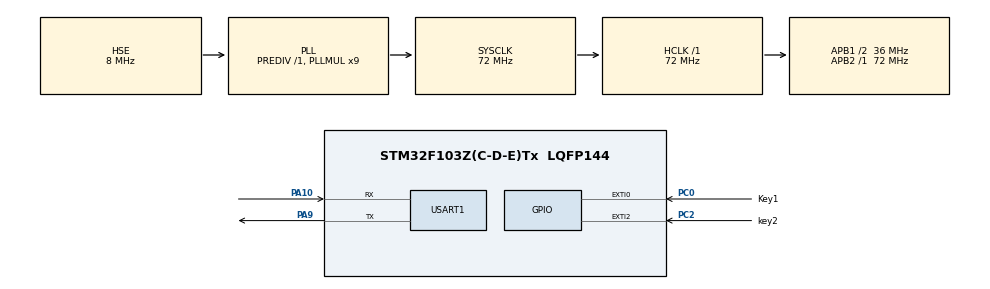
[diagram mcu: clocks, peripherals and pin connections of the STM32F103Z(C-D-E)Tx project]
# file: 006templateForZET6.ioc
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FREERTOS.Queues01=myQueue01,2,uint8_t,0,Dynamic,NULL,NULL;myBigQueue,2,char *,0,Dynamic,NULL,NULL
FREERTOS.Tasks01=defaultTask,0,128,StartDefaultTask,Default,NULL,Dynamic,NULL,NULL
FREERTOS.configGENERATE_RUN_TIME_STATS=0
FREERTOS.configTOTAL_HEAP_SIZE=20480
FREERTOS.configUSE_STATS_FORMATTING_FUNCTIONS=1
FREERTOS.configUSE_TRACE_FACILITY=1
Mcu.Family=STM32F1
Mcu.Name=STM32F103Z(C-D-E)Tx
Mcu.Package=LQFP144
NVIC.EXTI0_IRQn=true\:5\:0\:false\:false\:true\:true\:true\:true\:true
NVIC.EXTI2_IRQn=true\:5\:0\:false\:false\:true\:true\:true\:true\:true
NVIC.PriorityGroup=NVIC_PRIORITYGROUP_4
NVIC.TIM1_UP_IRQn=true\:15\:0\:false\:false\:true\:false\:false\:true\:true
NVIC.TimeBase=TIM1_UP_IRQn
NVIC.TimeBaseIP=TIM1
OSC_IN.Mode=HSE-External-Oscillator
OSC_IN.Signal=RCC_OSC_IN
OSC_OUT.Mode=HSE-External-Oscillator
OSC_OUT.Signal=RCC_OSC_OUT
PA10.Mode=Asynchronous
PA10.Signal=USART1_RX
PA13.Mode=Serial_Wire
PA13.Signal=SYS_JTMS-SWDIO
PA14.Mode=Serial_Wire
PA14.Signal=SYS_JTCK-SWCLK
PA9.Mode=Asynchronous
PA9.Signal=USART1_TX
PC0.GPIO_Label=Key1
PC0.GPIO_PuPd=GPIO_PULLUP
PC0.Signal=GPXTI0
PC14-OSC32_IN.Mode=LSE-External-Oscillator
PC14-OSC32_IN.Signal=RCC_OSC32_IN
PC15-OSC32_OUT.Mode=LSE-External-Oscillator
PC15-OSC32_OUT.Signal=RCC_OSC32_OUT
PC2.GPIO_Label=key2
PC2.GPIO_PuPd=GPIO_PULLUP
PC2.Signal=GPXTI2
ProjectManager.HeapSize=0x200
ProjectManager.StackSize=0x400
ProjectManager.TargetToolchain=MDK-ARM V5.32
RCC.AHBFreq_Value=72000000
RCC.APB1CLKDivider=RCC_HCLK_DIV2
RCC.APB1Freq_Value=36000000
RCC.APB1TimFreq_Value=72000000
RCC.APB2Freq_Value=72000000
RCC.APB2TimFreq_Value=72000000
RCC.HCLKFreq_Value=72000000
RCC.PLLMUL=RCC_PLL_MUL9
RCC.PLLSourceVirtual=RCC_PLLSOURCE_HSE
RCC.SYSCLKFreq_VALUE=72000000
RCC.SYSCLKSource=RCC_SYSCLKSOURCE_PLLCLK
RCC.USBFreq_Value=72000000
USART1.VirtualMode=VM_ASYNC
VP_FREERTOS_VS_CMSIS_V1.Mode=CMSIS_V1
VP_SYS_VS_tim1.Mode=TIM1
board=custom

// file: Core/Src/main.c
/* USER CODE BEGIN Header */
/**
  ******************************************************************************
  * @file           : main.c
  * @brief          : Main program body
  ******************************************************************************
  * @attention
  *
  * Copyright (c) 2025 STMicroelectronics.
  * All rights reserved.
  *
  * This software is licensed under terms that can be found in the LICENSE file
  * in the root directory of this software component.
  * If no LICENSE file comes with this software, it is provided AS-IS.
  *
  ******************************************************************************
  */
/* USER CODE END Header */
#include "main.h"
#include "cmsis_os.h"
#include "usart.h"
#include "gpio.h"

void SystemClock_Config(void);
void MX_FREERTOS_Init(void);

int main(void)
{

  /* MCU Configuration--------------------------------------------------------*/

  /* Reset of all peripherals, Initializes the Flash interface and the Systick. */
  HAL_Init();

  /* Configure the system clock */
  SystemClock_Config();

  /* Initialize all configured peripherals */
  MX_GPIO_Init();
  MX_USART1_UART_Init();
  /* USER CODE BEGIN 2 */
  printf("Hello World!\r\n");
  /* USER CODE END 2 */

  /* Call init function for freertos objects (in cmsis_os2.c) */
  MX_FREERTOS_Init();

  /* Start scheduler */
  osKernelStart();

  /* We should never get here as control is now taken by the scheduler */

  /* Infinite loop */
  while (1)
  {

  }
}

void SystemClock_Config(void)
{
  RCC_OscInitTypeDef RCC_OscInitStruct = {0};
  RCC_ClkInitTypeDef RCC_ClkInitStruct = {0};

  /** Initializes the RCC Oscillators according to the specified parameters
  * in the RCC_OscInitTypeDef structure.
  */
  RCC_OscInitStruct.OscillatorType = RCC_OSCILLATORTYPE_HSE;
  RCC_OscInitStruct.HSEState = RCC_HSE_ON;
  RCC_OscInitStruct.HSEPredivValue = RCC_HSE_PREDIV_DIV1;
  RCC_OscInitStruct.HSIState = RCC_HSI_ON;
  RCC_OscInitStruct.PLL.PLLState = RCC_PLL_ON;
  RCC_OscInitStruct.PLL.PLLSource = RCC_PLLSOURCE_HSE;
  RCC_OscInitStruct.PLL.PLLMUL = RCC_PLL_MUL9;
  if (HAL_RCC_OscConfig(&RCC_OscInitStruct) != HAL_OK)
  {
    Error_Handler();
  }

  /** Initializes the CPU, AHB and APB buses clocks
  */
  RCC_ClkInitStruct.ClockType = RCC_CLOCKTYPE_HCLK|RCC_CLOCKTYPE_SYSCLK
                              |RCC_CLOCKTYPE_PCLK1|RCC_CLOCKTYPE_PCLK2;
  RCC_ClkInitStruct.SYSCLKSource = RCC_SYSCLKSOURCE_PLLCLK;
  RCC_ClkInitStruct.AHBCLKDivider = RCC_SYSCLK_DIV1;
  RCC_ClkInitStruct.APB1CLKDivider = RCC_HCLK_DIV2;
  RCC_ClkInitStruct.APB2CLKDivider = RCC_HCLK_DIV1;

  if (HAL_RCC_ClockConfig(&RCC_ClkInitStruct, FLASH_LATENCY_2) != HAL_OK)
  {
    Error_Handler();
  }
}

void HAL_TIM_PeriodElapsedCallback(TIM_HandleTypeDef *htim)
{
  if (htim->Instance == TIM1)
  {
    HAL_IncTick();
  }
}

void Error_Handler(void)
{
  __disable_irq();
  while (1)
  {
  }
}

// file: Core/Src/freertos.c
/* USER CODE BEGIN Header */
/**
  ******************************************************************************
  * File Name          : freertos.c
  * Description        : Code for freertos applications
  ******************************************************************************
  * @attention
  *
  * Copyright (c) 2025 STMicroelectronics.
  * All rights reserved.
  *
  * This software is licensed under terms that can be found in the LICENSE file
  * in the root directory of this software component.
  * If no LICENSE file comes with this software, it is provided AS-IS.
  *
  ******************************************************************************
  */
/* USER CODE END Header */

#include "FreeRTOS.h"
#include "task.h"
#include "main.h"
#include "cmsis_os.h"

/* USER CODE BEGIN Includes */
#include "task1.h"
#include "task2.h"
#include "task3.h"
#include "showTaskInfo.h"
#include "usart.h"
#include "queue.h"
/* USER CODE END Includes */

osThreadId defaultTaskHandle;
osMessageQId myQueue01Handle;
osMessageQId myBigQueueHandle;

/* USER CODE BEGIN FunctionPrototypes */
TaskHandle_t task1_handle;
TaskHandle_t task2_handle;
TaskHandle_t showTaskInfo_handle;
TaskHandle_t task3_handle;//receive task queue
/* USER CODE END FunctionPrototypes */

void StartDefaultTask(void const * argument);

void MX_FREERTOS_Init(void); /* (MISRA C 2004 rule 8.1) */

/* GetIdleTaskMemory prototype (linked to static allocation support) */
void vApplicationGetIdleTaskMemory( StaticTask_t **ppxIdleTaskTCBBuffer, StackType_t **ppxIdleTaskStackBuffer, uint32_t *pulIdleTaskStackSize );

/* USER CODE BEGIN GET_IDLE_TASK_MEMORY */
static StaticTask_t xIdleTaskTCBBuffer;
static StackType_t xIdleStack[configMINIMAL_STACK_SIZE];

void vApplicationGetIdleTaskMemory( StaticTask_t **ppxIdleTaskTCBBuffer, StackType_t **ppxIdleTaskStackBuffer, uint32_t *pulIdleTaskStackSize )
{
  *ppxIdleTaskTCBBuffer = &xIdleTaskTCBBuffer;
  *ppxIdleTaskStackBuffer = &xIdleStack[0];
  *pulIdleTaskStackSize = configMINIMAL_STACK_SIZE;
  /* place for user code */
}
/* USER CODE END GET_IDLE_TASK_MEMORY */

void MX_FREERTOS_Init(void) {

  /* Create the queue(s) */
  /* definition and creation of myQueue01 */
  osMessageQDef(myQueue01, 2, uint8_t);
  myQueue01Handle = osMessageCreate(osMessageQ(myQueue01), NULL);

  /* definition and creation of myBigQueue */
  osMessageQDef(myBigQueue, 2, char *);
  myBigQueueHandle = osMessageCreate(osMessageQ(myBigQueue), NULL);

  /* USER CODE BEGIN RTOS_QUEUES */
  if(myQueue01Handle == NULL) {
    printf("myQueue01 create error\r\n");
  }
  else{
    printf("myQueue01 create ok\r\n");
  }
  if(myBigQueueHandle == NULL) {
    printf("myBigQueue create error\r\n");
  }
  else{
    printf("myBigQueue create ok\r\n");
  }
  /* add queues, ... */
  /* USER CODE END RTOS_QUEUES */

  /* Create the thread(s) */
  /* definition and creation of defaultTask */
  osThreadDef(defaultTask, StartDefaultTask, osPriorityNormal, 0, 128);
  defaultTaskHandle = osThreadCreate(osThread(defaultTask), NULL);

}

void StartDefaultTask(void const * argument)
{
  /* USER CODE BEGIN StartDefaultTask */
  taskENTER_CRITICAL();
  xTaskCreate(task1, "task1", 128, NULL, 1, &task1_handle);
  xTaskCreate(task2, "task2", 256, NULL, 2, &task2_handle);
  // xTaskCreate(task3, "task3", 128, NULL, 3, &task3_handle);
  // //xTaskCreate(showTaskInfo, "showTaskInfo", 128, NULL, 3, &showTaskInfo_handle);
  // // 创建任务3
  // BaseType_t xReturned = xTaskCreate(showTaskInfo, "showTaskInfo", 128, NULL, 3, &showTaskInfo_handle);
  // if( xReturned != pdPASS ) {
  //   // 任务创建失败，打印错误信息
  //   printf("Task 3 creation failed! Error code: %d\r\n", xReturned);
  // }
  // vTaskSuspend(task1_handle);
  // vTaskSuspend(task2_handle);
  vTaskDelete(NULL);
  taskEXIT_CRITICAL();

  //删除本任务

  /* Infinite loop */
  for(;;)
  {
    osDelay(1000);
  }
  /* USER CODE END StartDefaultTask */
}

/* USER CODE BEGIN Application */
//外部中断回调函数
uint64_t pretime = 0;

void HAL_GPIO_EXTI_Callback(uint16_t GPIO_Pin) {
  static uint8_t count = 0;
  uint64_t nowtime;
  BaseType_t err;
  BaseType_t xHigherPriorityTaskWoken = pdFALSE; // Correct variable for ISR context

  if(GPIO_Pin == GPIO_PIN_0) {
    //中断处理
    nowtime = HAL_GetTick();
    if(nowtime - pretime < 100) return;
    err = xQueueSendToBackFromISR(myQueue01Handle, &count, &xHigherPriorityTaskWoken);
    if(err != pdPASS) printf("send error\r\n");
    else printf("queue1 send ok\r\n");
    ++count;
  }
  else if(GPIO_Pin == GPIO_PIN_2) {
    nowtime = HAL_GetTick();
    if(nowtime - pretime < 100) return;
    char *message = "hello world";
    err = xQueueSendToBackFromISR(myBigQueueHandle, &message, &xHigherPriorityTaskWoken);
    if(err != pdPASS) printf("send error\r\n");
    else printf("bigqueue send ok\r\n");
  }
  pretime = nowtime;

  // Perform a context switch if required
  portYIELD_FROM_ISR(xHigherPriorityTaskWoken);
}
/* USER CODE END Application */
